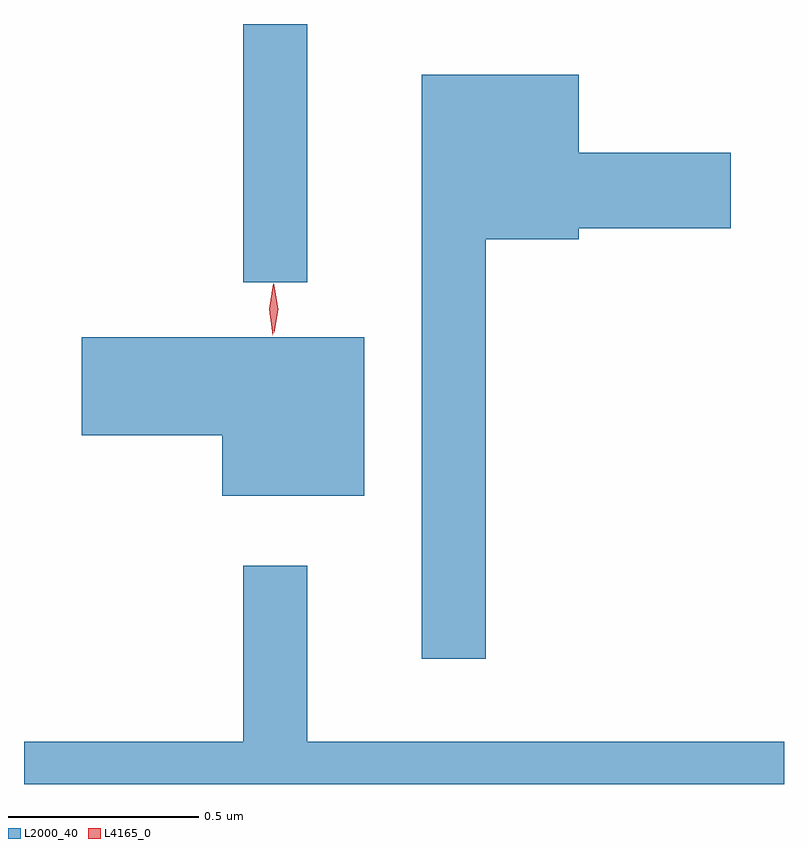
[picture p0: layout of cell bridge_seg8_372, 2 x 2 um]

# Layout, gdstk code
import gdstk
lib = gdstk.Library(unit=1e-6, precision=1e-09)
def R(c, l, rs):  # rectangles x0, y0, x1, y1
    for r in rs: c.add(gdstk.rectangle(r[:2], r[2:], *l))
def P(c, l, *ps):  # polygons
    for p in ps: c.add(gdstk.Polygon(p, *l))
L2000_40 = (2000, 40)
L4165_0 = (4165, 0)

bridge_seg8_372 = lib.new_cell('bridge_seg8_372')
R(bridge_seg8_372, L2000_40, [(766.651,1891.173,766.819,1891.853)])
P(bridge_seg8_372, L2000_40, [(767.289,1891.286),(767.534,1891.286),(767.534,1891.316),(767.934,1891.316),(767.934,1891.514),(767.534,1891.514),(767.534,1891.719),(767.121,1891.719),(767.121,1890.183),(767.289,1890.183)],
  [(766.969,1891.029),(766.226,1891.029),(766.226,1890.771),(766.596,1890.771),(766.596,1890.611),(766.969,1890.611)],
  [(768.074,1889.964),(766.819,1889.964),(766.819,1890.428),(766.651,1890.428),(766.651,1889.964),(766.074,1889.964),(766.074,1889.853),(768.074,1889.853)])
P(bridge_seg8_372, L4165_0, [(766.732,1891.04),(766.723,1891.103),(766.732,1891.166),(766.733,1891.167),(766.733,1891.166),(766.743,1891.103),(766.733,1891.04),(766.733,1891.04)],
  [(766.728,1891.034),(766.72,1891.102),(766.73,1891.17),(766.73,1891.17),(766.731,1891.17),(766.739,1891.102),(766.729,1891.034),(766.729,1891.034)])

lib.write_gds('bridge_seg8_372.gds')
